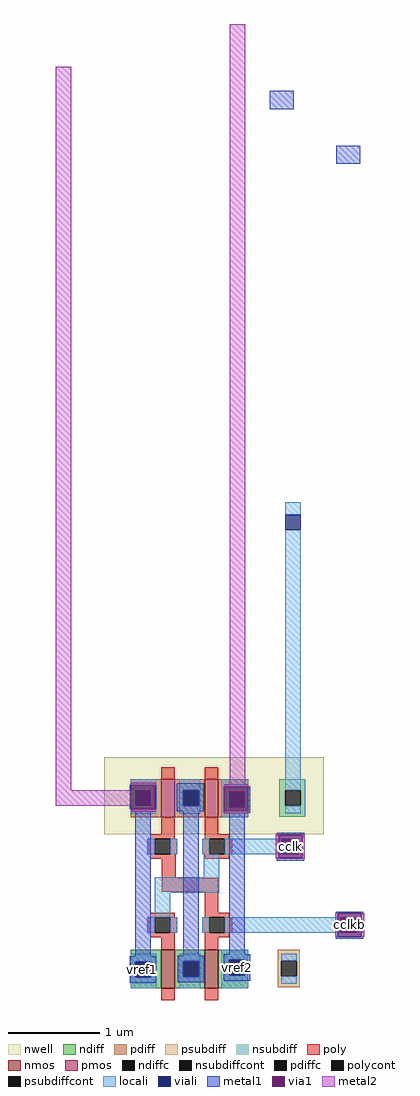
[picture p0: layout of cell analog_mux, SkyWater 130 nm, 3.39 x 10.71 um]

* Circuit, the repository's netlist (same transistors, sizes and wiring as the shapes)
* SPICE3 file created from analog_mux.ext - technology: sky130A

X0 vref2 cclkb a_30_n10# a_256_n8# sky130_fd_pr__nfet_01v8 ad=0p pd=0u as=0p ps=0u w=420000u l=150000u
X1 a_30_n10# cclkb vref1 w_n125_328# sky130_fd_pr__pfet_01v8 ad=0p pd=0u as=0p ps=0u w=420000u l=150000u
X2 a_30_n10# cclk vref1 a_256_n8# sky130_fd_pr__nfet_01v8 ad=0p pd=0u as=0p ps=0u w=420000u l=150000u
X3 vref2 cclk a_30_n10# w_n125_328# sky130_fd_pr__pfet_01v8 ad=0p pd=0u as=0p ps=0u w=420000u l=150000u

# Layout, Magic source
magic
tech sky130A
magscale 1 2
<< nwell >>
rect -125 328 357 497
<< nmos >>
rect 0 -10 30 74
rect 96 -10 126 74
<< pmos >>
rect 0 365 30 449
rect 96 365 126 449
<< ndiff >>
rect -66 48 0 74
rect -66 14 -57 48
rect -23 14 0 48
rect -66 -10 0 14
rect 30 49 96 74
rect 30 15 49 49
rect 83 15 96 49
rect 30 -10 96 15
rect 126 52 192 74
rect 126 18 150 52
rect 184 18 192 52
rect 126 -10 192 18
<< pdiff >>
rect -66 425 0 449
rect -66 391 -57 425
rect -23 391 0 425
rect -66 365 0 391
rect 30 424 96 449
rect 30 390 49 424
rect 83 390 96 424
rect 30 365 96 390
rect 126 421 192 449
rect 126 387 150 421
rect 184 387 192 421
rect 126 365 192 387
<< ndiffc >>
rect -57 14 -23 48
rect 49 15 83 49
rect 150 18 184 52
<< pdiffc >>
rect -57 391 -23 425
rect 49 390 83 424
rect 150 387 184 421
<< psubdiff >>
rect 256 50 305 74
rect 256 16 264 50
rect 298 16 305 50
rect 256 -8 305 16
<< nsubdiff >>
rect 260 424 317 449
rect 260 390 273 424
rect 307 390 317 424
rect 260 366 317 390
<< psubdiffcont >>
rect 264 16 298 50
<< nsubdiffcont >>
rect 273 390 307 424
<< poly >>
rect 0 449 30 475
rect 96 449 126 475
rect 0 328 30 365
rect -24 318 30 328
rect 96 328 126 365
rect 96 318 150 328
rect -30 284 -14 318
rect 20 284 36 318
rect 90 284 106 318
rect 140 284 156 318
rect -24 274 32 284
rect 96 274 150 284
rect 2 232 32 274
rect 2 202 126 232
rect 96 156 126 202
rect -24 146 30 156
rect 96 146 150 156
rect -30 112 -14 146
rect 20 112 36 146
rect 90 112 106 146
rect 140 112 156 146
rect -24 102 30 112
rect 0 74 30 102
rect 96 102 150 112
rect 96 74 126 102
rect 0 -36 30 -10
rect 96 -36 126 -10
<< polycont >>
rect -14 284 20 318
rect 106 284 140 318
rect -14 112 20 146
rect 106 112 140 146
<< locali >>
rect 273 1030 307 1057
rect -66 425 -11 449
rect -66 391 -57 425
rect -23 391 -11 425
rect -66 373 -11 391
rect 40 424 86 449
rect 40 390 49 424
rect 83 390 86 424
rect 40 373 86 390
rect 132 421 192 449
rect 132 387 150 421
rect 184 387 192 421
rect 132 365 192 387
rect 273 424 307 996
rect 273 374 307 390
rect -30 284 -14 318
rect 20 284 36 318
rect 90 284 106 318
rect 140 284 265 318
rect 299 284 302 318
rect 94 234 128 284
rect -14 200 128 234
rect -14 146 20 200
rect -30 112 -14 146
rect 20 112 36 146
rect 90 112 106 146
rect 140 112 395 146
rect 429 112 435 146
rect -66 48 -11 66
rect -66 14 -57 48
rect -23 14 -11 48
rect -66 -10 -11 14
rect 40 49 86 66
rect 40 15 49 49
rect 83 15 86 49
rect 40 -10 86 15
rect 132 52 192 74
rect 132 18 150 52
rect 184 18 192 52
rect 132 -10 192 18
rect 264 50 298 66
rect 264 0 298 16
<< viali >>
rect 273 996 307 1030
rect -57 391 -23 425
rect 49 390 83 424
rect 150 387 184 421
rect 265 284 299 318
rect 395 112 429 146
rect -57 14 -23 48
rect 49 15 83 49
rect 150 18 184 52
<< metal1 >>
rect 239 1920 291 1960
rect 385 1800 437 1840
rect -65 437 -13 441
rect -69 435 -11 437
rect -69 383 -65 435
rect -13 383 -11 435
rect 35 424 94 440
rect 139 433 191 438
rect 35 390 49 424
rect 83 390 94 424
rect -65 377 -13 383
rect 35 378 94 390
rect 138 432 196 433
rect 138 380 139 432
rect 191 380 196 432
rect -57 60 -23 377
rect 49 61 83 378
rect 138 375 196 380
rect 139 374 191 375
rect 150 64 184 374
rect 254 327 314 331
rect 252 275 258 327
rect 310 275 316 327
rect 254 270 314 275
rect 384 155 444 158
rect 382 103 388 155
rect 440 103 446 155
rect 384 98 444 103
rect -69 48 -11 60
rect -69 14 -57 48
rect -23 14 -11 48
rect -69 2 -11 14
rect 37 49 95 61
rect 37 15 49 49
rect 83 15 95 49
rect 37 3 95 15
rect 138 52 196 64
rect 138 18 150 52
rect 184 18 196 52
rect 138 6 196 18
<< via1 >>
rect -65 425 -13 435
rect -65 391 -57 425
rect -57 391 -23 425
rect -23 391 -13 425
rect -65 383 -13 391
rect 139 421 191 432
rect 139 387 150 421
rect 150 387 184 421
rect 184 387 191 421
rect 139 380 191 387
rect 258 318 310 327
rect 258 284 265 318
rect 265 284 299 318
rect 299 284 310 318
rect 258 275 310 284
rect 388 146 440 155
rect 388 112 395 146
rect 395 112 429 146
rect 429 112 440 146
rect 388 103 440 112
<< metal2 >>
rect -231 425 -197 2013
rect -65 435 -13 441
rect 151 438 185 2107
rect -231 391 -65 425
rect -65 377 -13 383
rect 139 432 191 438
rect 139 374 191 380
rect 252 275 258 327
rect 310 275 316 327
rect 382 103 388 155
rect 440 103 446 155
<< labels >>
flabel metal1 150 18 184 52 0 FreeSans 160 0 0 0 vref2
flabel metal1 -57 14 -23 48 0 FreeSans 160 0 0 0 vref1
flabel metal2 382 103 446 155 0 FreeSans 160 0 0 0 cclkb
flabel metal2 252 275 316 327 0 FreeSans 160 0 0 0 cclk
<< end >>
